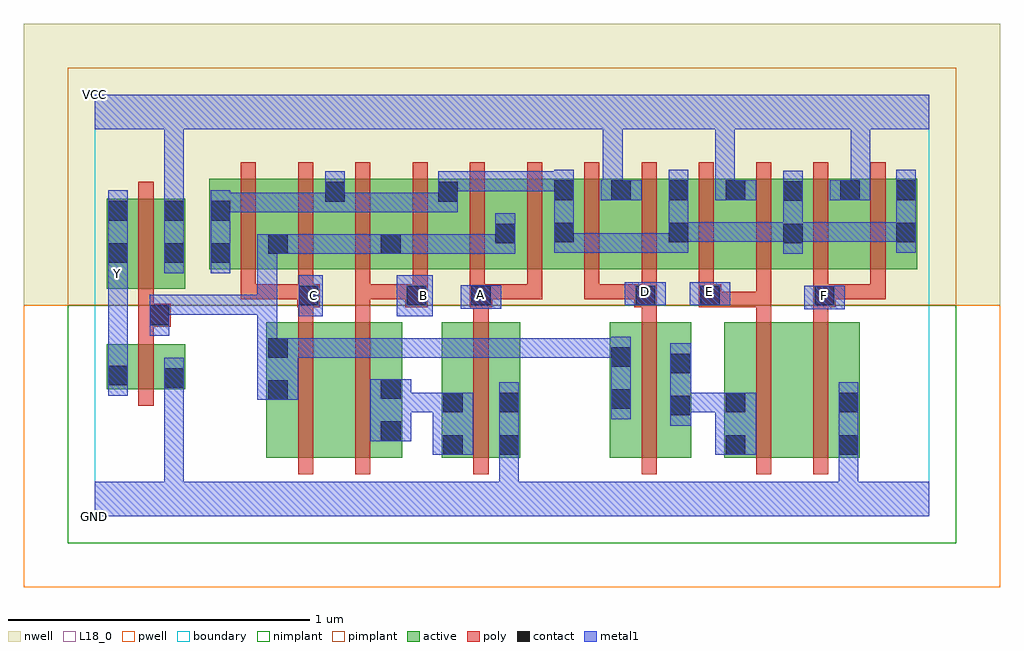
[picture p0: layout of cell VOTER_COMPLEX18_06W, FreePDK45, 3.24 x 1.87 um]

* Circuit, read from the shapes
.subckt VOTER_COMPLEX18_06W A B C D E F GND VCC Y
M1 GND n1 Y VSUBS nfet w=0.15u l=0.05u
M2 n2 C n1 VSUBS nfet w=0.45u l=0.05u
M3 n3 B n2 VSUBS nfet w=0.45u l=0.05u
M4 GND A n3 VSUBS nfet w=0.45u l=0.05u
M5 n4 D n1 VSUBS nfet w=0.45u l=0.05u
M6 n5 E n4 VSUBS nfet w=0.45u l=0.05u
M7 GND F n5 VSUBS nfet w=0.45u l=0.05u
M8 VCC n1 Y n6 pfet w=0.3u l=0.05u
M9 n1 C n7 n6 pfet w=0.3u l=0.05u m=2
M10 n1 B n7 n6 pfet w=0.3u l=0.05u m=2
M11 n1 A n7 n6 pfet w=0.3u l=0.05u m=2
M12 VCC D n7 n6 pfet w=0.3u l=0.05u m=2
M13 VCC E n7 n6 pfet w=0.3u l=0.05u m=2
M14 VCC F n7 n6 pfet w=0.3u l=0.05u m=2
.ends

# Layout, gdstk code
import gdstk
lib = gdstk.Library(unit=1e-6, precision=1e-09)
def R(c, l, rs):  # rectangles x0, y0, x1, y1
    for r in rs: c.add(gdstk.rectangle(r[:2], r[2:], *l))
def A(c, l, x, y, w, h, nx, ny, dx, dy):  # array of equal rectangles
    R(c, l, [(x+i*dx, y+j*dy, x+i*dx+w, y+j*dy+h) for i in range(nx) for j in range(ny)])
active = (1, 0)
pwell = (2, 0)
nwell = (3, 0)
nimplant = (4, 0)
pimplant = (5, 0)
poly = (9, 0)
contact = (10, 0)
metal1 = (11, 0)
L18_0 = (18, 0)
boundary = (235, 0)

voter_complex18_06w = lib.new_cell('VOTER_COMPLEX18_06W')
A(voter_complex18_06w, active, 1.52, 0.82, 0.265, 0.3, 5, 1, 0.19, 0)
A(voter_complex18_06w, active, 1.9, 0.82, 0.075, 0.3, 3, 1, 0.19, 0)
R(voter_complex18_06w, active, [(0.57,0.195,0.795,0.645), (0.57,0.195,0.675,0.645), (0.795,0.195,1.02,0.645), (0.945,0.195,1.02,0.645), (1.152,0.195,1.227,0.645), (1.152,0.195,1.412,0.645), (1.337,0.195,1.412,0.645), (1.71,0.195,1.785,0.645), (1.71,0.195,1.98,0.645), (1.905,0.195,1.98,0.645), (2.09,0.195,2.315,0.645), (2.09,0.195,2.195,0.645), (2.315,0.195,2.54,0.645), (2.465,0.195,2.54,0.645), (0.04,0.422,0.3,0.572), (0.225,0.422,0.3,0.572), (0.04,0.43,0.115,0.572), (0.04,0.755,0.115,1.055), (0.04,0.755,0.3,1.055), (0.225,0.755,0.3,1.055), (0.38,0.82,0.455,1.12), (0.38,0.82,0.645,1.12), (0.57,0.82,0.835,1.12), (0.76,0.82,1.02,1.12), (0.945,0.82,1.21,1.12), (1.135,0.82,1.4,1.12), (1.325,0.82,1.595,1.12), (1.52,0.82,1.595,1.12), (2.47,0.82,2.73,1.12), (2.655,0.82,2.73,1.12), (0.76,0.852,0.835,1.115), (1.135,0.852,1.21,1.12), (1.71,0.852,1.785,1.12), (2.47,0.852,2.545,1.12), (0.57,0.867,0.645,1.055), (0.945,0.867,1.02,1.055), (1.325,0.902,1.4,1.07)])
R(voter_complex18_06w, pwell, [(-0.235,-0.235,3.005,0.7)])
R(voter_complex18_06w, nwell, [(-0.235,0.7,3.005,1.635)])
R(voter_complex18_06w, nimplant, [(-0.09,-0.09,2.86,0.7)])
R(voter_complex18_06w, pimplant, [(-0.09,0.7,2.86,1.49)])
A(voter_complex18_06w, poly, 0.485, 0.72, 0.05, 0.095, 8, 1, 0.19, 0)
A(voter_complex18_06w, poly, 0.485, 0.765, 0.05, 0.41, 8, 1, 0.19, 0)
A(voter_complex18_06w, poly, 2.195, 0.765, 0.05, 0.41, 3, 1, 0.19, 0)
R(voter_complex18_06w, poly, [(0.675,0.14,0.725,0.7), (0.865,0.14,0.915,0.7), (1.257,0.14,1.307,0.7), (1.815,0.14,1.865,0.7), (2.195,0.14,2.245,0.7), (2.385,0.14,2.435,0.7), (0.145,0.367,0.195,0.627), (0.145,0.577,0.195,0.68), (0.145,0.63,0.252,0.705), (0.675,0.65,0.725,0.745), (0.865,0.65,0.915,0.77), (1.257,0.65,1.307,0.745), (1.815,0.65,1.865,0.745), (2.195,0.65,2.245,0.745), (2.385,0.65,2.435,0.745), (0.145,0.655,0.195,0.75), (0.672,0.695,0.747,0.77), (1.03,0.695,1.105,0.77), (1.245,0.695,1.32,0.77), (1.79,0.695,1.865,0.77), (2.005,0.695,2.08,0.77), (2.03,0.695,2.245,0.745), (2.195,0.695,2.245,0.745), (2.195,0.695,2.245,0.745), (2.195,0.695,2.245,0.745), (2.195,0.695,2.245,0.815), (2.385,0.695,2.46,0.77), (0.145,0.7,0.195,1.11), (0.485,0.72,0.535,0.77), (0.485,0.72,0.722,0.77), (0.672,0.72,0.722,0.77), (0.672,0.72,0.722,0.77), (0.865,0.72,0.915,0.77), (0.865,0.72,1.08,0.77), (1.03,0.72,1.08,0.77), (1.03,0.72,1.08,0.77), (1.27,0.72,1.485,0.77), (1.435,0.72,1.485,0.77), (1.435,0.72,1.485,0.77), (1.435,0.72,1.485,0.77), (1.625,0.72,1.675,0.77), (1.625,0.72,1.722,0.77), (1.672,0.72,1.722,0.77), (1.672,0.72,1.84,0.77), (2.005,0.72,2.055,0.77), (2.005,0.72,2.055,1.175), (2.385,0.72,2.435,0.815), (2.41,0.72,2.625,0.77), (2.575,0.72,2.625,0.815), (2.575,0.72,2.625,0.77), (2.575,0.72,2.625,0.77), (2.575,0.72,2.625,0.77)])
A(voter_complex18_06w, contact, 1.525, 1.05, 0.065, 0.065, 4, 1, 0.19, 0)
R(voter_complex18_06w, contact, [(1.157,0.205,1.222,0.27), (1.342,0.205,1.407,0.27), (2.095,0.205,2.16,0.27), (2.47,0.205,2.535,0.27), (0.95,0.25,1.015,0.315), (1.91,0.335,1.975,0.4), (1.157,0.345,1.222,0.41), (1.342,0.345,1.407,0.41), (2.095,0.345,2.16,0.41), (2.47,0.345,2.535,0.41), (1.715,0.357,1.78,0.422), (0.575,0.387,0.64,0.452), (0.95,0.39,1.015,0.455), (0.23,0.427,0.295,0.492), (0.045,0.435,0.11,0.5), (1.91,0.475,1.975,0.54), (1.715,0.497,1.78,0.562), (0.575,0.527,0.64,0.592), (0.182,0.635,0.247,0.7), (0.677,0.7,0.742,0.765), (1.035,0.7,1.1,0.765), (1.25,0.7,1.315,0.765), (1.795,0.7,1.86,0.765), (2.01,0.7,2.075,0.765), (2.39,0.7,2.455,0.765), (0.045,0.842,0.11,0.907), (0.23,0.842,0.295,0.907), (0.385,0.842,0.45,0.907), (0.575,0.872,0.64,0.937), (0.95,0.872,1.015,0.937), (1.33,0.907,1.395,0.972), (2.285,0.907,2.35,0.972), (1.525,0.91,1.59,0.975), (1.905,0.91,1.97,0.975), (2.66,0.91,2.725,0.975), (0.045,0.982,0.11,1.047), (0.23,0.982,0.295,1.047), (0.385,0.982,0.45,1.047), (0.765,1.045,0.83,1.11), (1.14,1.045,1.205,1.11), (2.285,1.047,2.35,1.112), (2.475,1.05,2.54,1.115), (2.66,1.05,2.725,1.115)])
A(voter_complex18_06w, metal1, 1.68, 1.05, 0.135, 0.065, 3, 1, 0.38, 0)
R(voter_complex18_06w, metal1, [(0,0,2.77,0.115), (0.23,0.05,0.295,0.252), (1.342,0.05,1.407,0.115), (1.342,0.05,1.407,0.115), (1.342,0.05,1.407,0.235), (2.47,0.05,2.535,0.115), (2.47,0.05,2.535,0.115), (2.47,0.05,2.535,0.235), (1.342,0.17,1.407,0.445), (2.47,0.17,2.535,0.445), (0.23,0.187,0.295,0.252), (0.23,0.187,0.295,0.252), (0.23,0.187,0.295,0.252), (0.23,0.187,0.295,0.252), (0.23,0.187,0.295,0.252), (0.23,0.187,0.295,0.457), (1.122,0.205,1.257,0.41), (2.06,0.205,2.195,0.41), (0.915,0.25,1.05,0.455), (1.91,0.3,1.98,0.575), (1.715,0.322,1.78,0.597), (0.985,0.345,1.05,0.41), (0.985,0.345,1.05,0.41), (0.985,0.345,1.187,0.41), (1.915,0.345,2.125,0.41), (2.06,0.345,2.125,0.41), (2.06,0.345,2.125,0.41), (0.54,0.387,0.675,0.592), (0.23,0.392,0.295,0.527), (0.045,0.4,0.11,0.535), (0.045,0.47,0.11,0.802), (0.54,0.527,0.605,0.735), (0.61,0.527,0.675,0.592), (0.61,0.527,0.675,0.592), (0.61,0.527,0.812,0.592), (0.747,0.527,0.812,0.592), (0.747,0.527,0.812,0.592), (0.747,0.527,0.812,0.592), (0.747,0.527,1.05,0.592), (0.985,0.527,1.05,0.592), (0.985,0.527,1.05,0.592), (0.985,0.527,1.05,0.592), (0.985,0.527,1.205,0.592), (1.14,0.527,1.205,0.592), (1.14,0.527,1.207,0.592), (1.142,0.527,1.207,0.592), (1.142,0.527,1.342,0.592), (1.277,0.527,1.342,0.592), (1.277,0.527,1.532,0.592), (1.467,0.527,1.532,0.592), (1.467,0.527,1.607,0.592), (1.542,0.527,1.607,0.592), (1.542,0.527,1.67,0.592), (1.605,0.527,1.67,0.592), (1.605,0.527,1.78,0.592), (0.182,0.6,0.247,0.735), (0.677,0.665,0.757,0.8), (1.002,0.665,1.122,0.8), (0.182,0.67,0.247,0.735), (0.182,0.67,0.247,0.735), (0.182,0.67,0.467,0.735), (0.402,0.67,0.467,0.735), (0.402,0.67,0.537,0.735), (0.472,0.67,0.537,0.735), (0.472,0.67,0.605,0.735), (0.54,0.67,0.605,0.735), (0.54,0.67,0.605,0.937), (2.355,0.687,2.49,0.765), (1.215,0.69,1.35,0.767), (1.76,0.7,1.895,0.777), (1.975,0.7,2.11,0.777), (0.045,0.737,0.11,0.872), (0.045,0.807,0.11,0.872), (0.045,0.807,0.11,1.082), (0.23,0.807,0.295,1.082), (0.385,0.807,0.45,1.082), (0.54,0.872,0.675,0.937), (0.61,0.872,0.675,0.937), (0.61,0.872,0.675,0.937), (0.61,0.872,0.842,0.937), (0.777,0.872,0.842,0.937), (0.777,0.872,0.842,0.937), (0.777,0.872,0.842,0.937), (0.777,0.872,0.98,0.937), (0.915,0.872,1.05,0.937), (0.985,0.872,1.07,0.937), (1.005,0.872,1.07,0.937), (1.005,0.872,1.205,0.937), (1.14,0.872,1.205,0.937), (1.14,0.872,1.395,0.937), (1.33,0.872,1.395,0.937), (1.33,0.872,1.395,0.937), (1.33,0.872,1.395,1.007), (2.285,0.872,2.35,1.147), (1.525,0.875,1.59,0.94), (1.525,0.875,1.59,0.94), (1.525,0.875,1.59,1.15), (1.525,0.875,1.67,0.94), (1.605,0.875,1.67,0.94), (1.605,0.875,1.805,0.94), (1.74,0.875,1.805,0.94), (1.74,0.875,1.807,0.94), (1.742,0.875,1.807,0.94), (1.742,0.875,1.97,0.94), (1.905,0.875,1.97,1.15), (2.66,0.875,2.725,1.15), (1.905,0.912,1.987,0.977), (1.922,0.912,1.987,0.977), (1.922,0.912,2.125,0.977), (2.06,0.912,2.125,0.977), (2.06,0.912,2.282,0.977), (2.217,0.912,2.282,0.977), (2.217,0.912,2.35,0.977), (2.285,0.912,2.52,0.977), (2.455,0.912,2.52,0.977), (2.455,0.912,2.52,0.977), (2.455,0.912,2.52,0.977), (2.455,0.912,2.725,0.977), (2.66,0.912,2.725,0.977), (2.66,0.912,2.725,0.977), (0.385,1.01,0.45,1.075), (0.385,1.01,0.45,1.075), (0.385,1.01,0.675,1.075), (0.61,1.01,0.675,1.075), (0.61,1.01,0.675,1.075), (0.61,1.01,0.675,1.075), (0.61,1.01,0.83,1.075), (0.765,1.01,0.83,1.075), (0.765,1.01,0.83,1.075), (0.765,1.01,0.83,1.145), (0.765,1.01,1.047,1.075), (0.982,1.01,1.047,1.075), (0.982,1.01,1.047,1.075), (0.982,1.01,1.047,1.075), (0.982,1.01,1.205,1.075), (1.14,1.01,1.205,1.145), (0.23,1.017,0.295,1.35), (1.687,1.05,1.752,1.35), (2.06,1.05,2.125,1.35), (2.51,1.05,2.575,1.35), (1.14,1.08,1.342,1.145), (1.277,1.08,1.342,1.145), (1.277,1.08,1.342,1.145), (1.277,1.08,1.342,1.145), (1.277,1.08,1.532,1.145), (1.467,1.08,1.532,1.145), (1.467,1.08,1.59,1.145), (0,1.285,2.77,1.4), (0.23,1.285,0.295,1.35), (0.23,1.285,0.295,1.35), (1.687,1.285,1.752,1.35), (1.687,1.285,1.752,1.35), (2.06,1.285,2.125,1.35), (2.06,1.285,2.125,1.35), (2.51,1.285,2.575,1.35), (2.51,1.285,2.575,1.35)])
A(voter_complex18_06w, L18_0, 1.68, 1.05, 0.135, 0.065, 3, 1, 0.38, 0)
R(voter_complex18_06w, L18_0, [(0,0,2.77,0.115), (0.23,0.05,0.295,0.252), (1.342,0.05,1.407,0.115), (1.342,0.05,1.407,0.115), (1.342,0.05,1.407,0.235), (2.47,0.05,2.535,0.115), (2.47,0.05,2.535,0.115), (2.47,0.05,2.535,0.235), (1.342,0.17,1.407,0.445), (2.47,0.17,2.535,0.445), (0.23,0.187,0.295,0.252), (0.23,0.187,0.295,0.252), (0.23,0.187,0.295,0.252), (0.23,0.187,0.295,0.252), (0.23,0.187,0.295,0.252), (0.23,0.187,0.295,0.457), (0.23,0.392,0.295,0.527), (0.045,0.4,0.11,0.535), (0.045,0.47,0.11,0.802), (0.677,0.665,0.757,0.8), (1.002,0.665,1.122,0.8), (2.355,0.687,2.49,0.765), (1.215,0.69,1.35,0.767), (0.692,0.7,0.757,0.765), (1.057,0.7,1.122,0.765), (1.76,0.7,1.895,0.777), (1.975,0.7,2.11,0.777), (2.39,0.7,2.455,0.765), (1.25,0.702,1.315,0.767), (1.795,0.712,1.86,0.777), (2.01,0.712,2.075,0.777), (0.045,0.737,0.11,0.872), (0.045,0.772,0.11,0.837), (0.045,0.807,0.11,1.082), (0.045,0.807,0.11,0.872), (0.23,0.807,0.295,1.082), (0.23,1.017,0.295,1.35), (1.687,1.05,1.752,1.35), (2.06,1.05,2.125,1.35), (2.51,1.05,2.575,1.35), (0,1.285,2.77,1.4), (0.23,1.285,0.295,1.35), (0.23,1.285,0.295,1.35), (1.687,1.285,1.752,1.35), (1.687,1.285,1.752,1.35), (2.06,1.285,2.125,1.35), (2.06,1.285,2.125,1.35), (2.51,1.285,2.575,1.35), (2.51,1.285,2.575,1.35)])
R(voter_complex18_06w, boundary, [(0,0,2.77,1.4)])
voter_complex18_06w.add(gdstk.Label('A', (1.282,0.735), layer=11, texttype=0))
voter_complex18_06w.add(gdstk.Label('B', (1.09,0.732), layer=11, texttype=0))
voter_complex18_06w.add(gdstk.Label('C', (0.725,0.732), layer=11, texttype=0))
voter_complex18_06w.add(gdstk.Label('D', (1.827,0.745), layer=11, texttype=0))
voter_complex18_06w.add(gdstk.Label('E', (2.042,0.745), layer=11, texttype=0))
voter_complex18_06w.add(gdstk.Label('F', (2.422,0.732), layer=11, texttype=0))
voter_complex18_06w.add(gdstk.Label('Y', (0.077,0.805), layer=11, texttype=0))
voter_complex18_06w.add(gdstk.Label('VCC', (0,1.4), layer=11, texttype=0))
voter_complex18_06w.add(gdstk.Label('GND', (0,0), layer=11, texttype=0))

lib.write_gds('VOTER_COMPLEX18_06W.gds')
